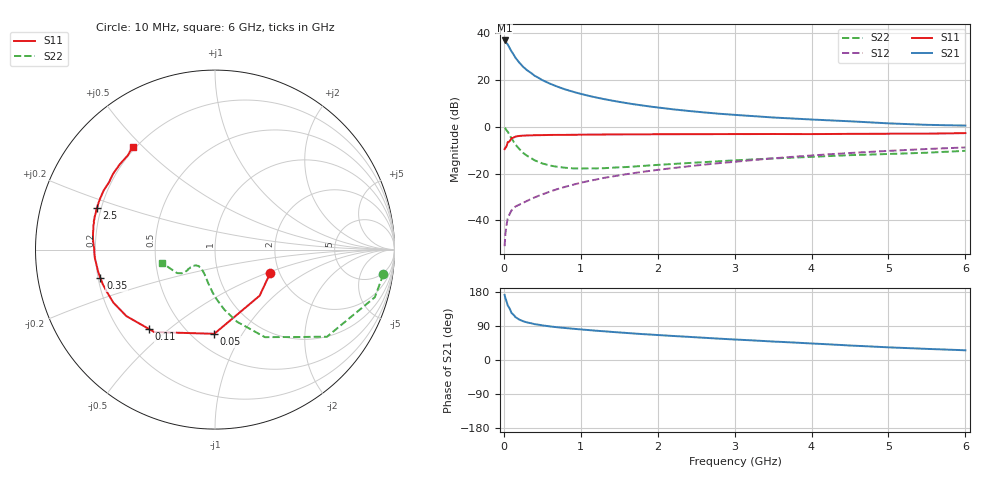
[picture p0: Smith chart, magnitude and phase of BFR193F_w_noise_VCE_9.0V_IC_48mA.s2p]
! Infineon Technologies  Discrete & RF Semiconductors
! BFR193F
! VCE =  9.0 V,  IC =  48 mA
! Common Emitter S-Parameters:  Jan 2017
# GHz  S  MA  R  50
!  f  S11  S21  S12  S22
! GHz  MAG  ANG  MAG  ANG  MAG  ANG  MAG  ANG
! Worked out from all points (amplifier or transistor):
!   77 points, 10 MHz to 6 GHz, reference 50 ohm
!   highest |S21| = 37.0 dB at 10 MHz (marker M1)
!   |S21| within 3 dB of that: start of sweep to 71.81 MHz
!   unconditionally stable (mu >= 1): 926.3 MHz to 2.548 GHz
!   at 130 MHz: K = 0.44, MSG = 32.7 dB, |S12| = -34.8 dB
!   at 2.2 GHz: K = 1.02, MAG = 11.8 dB, |S12| = -17.6 dB
!   at 6 GHz: K = 0.85, MSG = 4.7 dB, |S12| = -8.8 dB
!   lowest NFmin = 1.45 dB at 450 MHz
!   S11 on the Smith chart (normalised r, x): 10 MHz: 1.79, -0.53; 50 MHz: 0.63, -0.76; 110 MHz: 0.32, -0.43; 350 MHz: 0.21, -0.12; 2.5 GHz: 0.18, +0.17; 6 GHz: 0.19, +0.47
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0.01  0.334 -23.0  70.47 171.6  0.0028 80.8  0.9483 -8.3
0.02  0.3576 -45.9  68.08 163.6  0.005 75.8  0.9292 -16.6
0.05  0.4692 -90.5  58.01 144.1  0.0109 64.8  0.7906 -37.9
0.1  0.5705 -126.4  41.04 123.9  0.0163 52.9  0.5617 -60.3
0.11  0.5757 -129.9  38.81 122.3  0.017 52.5  0.5318 -62.3
0.15  0.6173 -143.1  30.33 113.3  0.0197 51.2  0.4207 -73.0
0.2  0.6386 -152.4  23.73 106.7  0.0216 51.2  0.3372 -81.3
0.25  0.6472 -158.8  19.33 102.4  0.0236 53.9  0.2783 -87.9
0.3  0.6548 -163.1  16.34 99.2  0.026 56.7  0.2415 -92.9
0.35  0.6577 -166.0  14.36 97.2  0.0284 58.8  0.2164 -96.5
0.4  0.6622 -168.8  12.4 94.6  0.0309 60.6  0.1924 -101.1
0.5  0.6655 -172.6  9.995 91.4  0.0359 63.1  0.1651 -107.7
0.6  0.6707 -175.7  8.379 88.6  0.0412 65.6  0.1484 -113.3
0.8  0.6726 180.0  6.307 84.4  0.0522 68.9  0.1332 -122.8
1.1  0.682 175.1  4.625 79.0  0.0692 71.7  0.1295 -131.8
1.5  0.6885 170.0  3.421 72.8  0.0916 72.9  0.1361 -139.2
2.1  0.6949 163.9  2.482 64.7  0.1256 73.2  0.157 -143.5
2.5  0.6978 160.5  2.113 59.9  0.1489 72.7  0.1719 -143.8
3.1  0.7005 155.4  1.758 53.1  0.1851 71.8  0.1956 -143.2
4.1  0.7009 146.7  1.41 42.6  0.2504 68.0  0.2318 -145.3
5.1  0.7124 137.0  1.17 32.6  0.3118 62.8  0.2661 -155.6
6  0.7348 128.6  1.064 25.6  0.3623 57.6  0.3069 -166.1
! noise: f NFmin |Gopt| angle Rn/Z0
0.45  1.45  0.46  -180  0.07
0.9  1.54  0.47  -179  0.07
1.9  2.11  0.6  -164  0.09
2.4  2.42  0.62  -156  0.14
